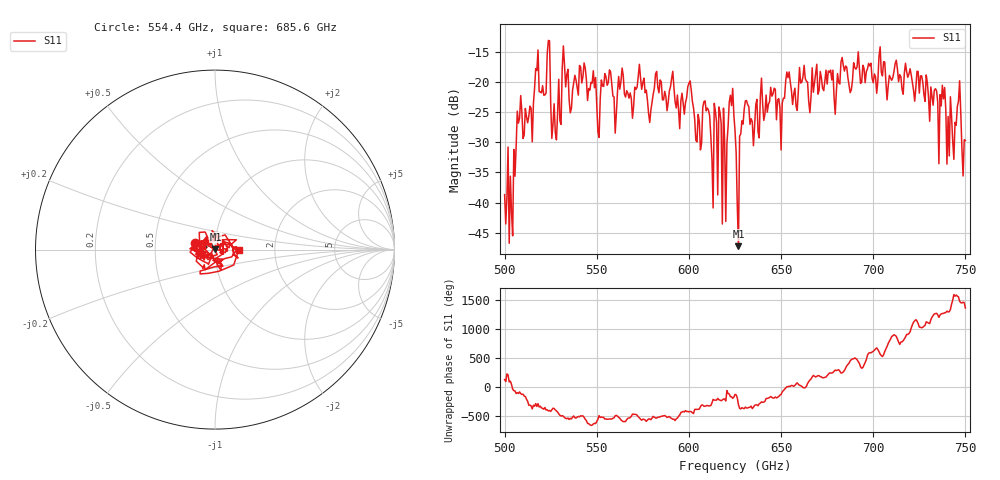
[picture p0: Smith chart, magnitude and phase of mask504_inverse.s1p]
!Created with skrf (http://scikit-rf.org).
# GHz S MA R 50.0
!freq magS11 angS11
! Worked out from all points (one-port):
!   401 points, 500 GHz to 750 GHz, reference 50 ohm
!   lowest |S11| = -47.2 dB at 626.9 GHz (marker M1), VSWR 1.01, Z = 50.3 + j0.336 ohm
!   |S11| at or under -10 dB: start of sweep to end of sweep
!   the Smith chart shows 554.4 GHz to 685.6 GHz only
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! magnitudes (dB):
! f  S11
! 500 GHz  -38.7
! 503.8 GHz  -41.6
! 508.1 GHz  -26.0
! 513.8 GHz  -24.0
! 517.5 GHz  -18.1
! 523.8 GHz  -13.2
! 526.9 GHz  -23.6
! 531.2 GHz  -17.9
! 542.5 GHz  -19.1
! 551.2 GHz  -29.2
! 562.5 GHz  -21.2
! 593.8 GHz  -22.2
! 600.6 GHz  -19.9
! 605.6 GHz  -26.5
! 609.4 GHz  -24.8
! 619.4 GHz  -29.9
! 623.1 GHz  -23.9
! 625 GHz  -28.1
! 626.9 GHz  -47.2
! 631.2 GHz  -23.1
! 634.4 GHz  -26.6
! 656.2 GHz  -23.8
! 687.5 GHz  -21.8
! 718.8 GHz  -19.3
! 737.5 GHz  -20.6
! 742.5 GHz  -25.8
! 746.2 GHz  -23.2
! 750 GHz  -29.7
